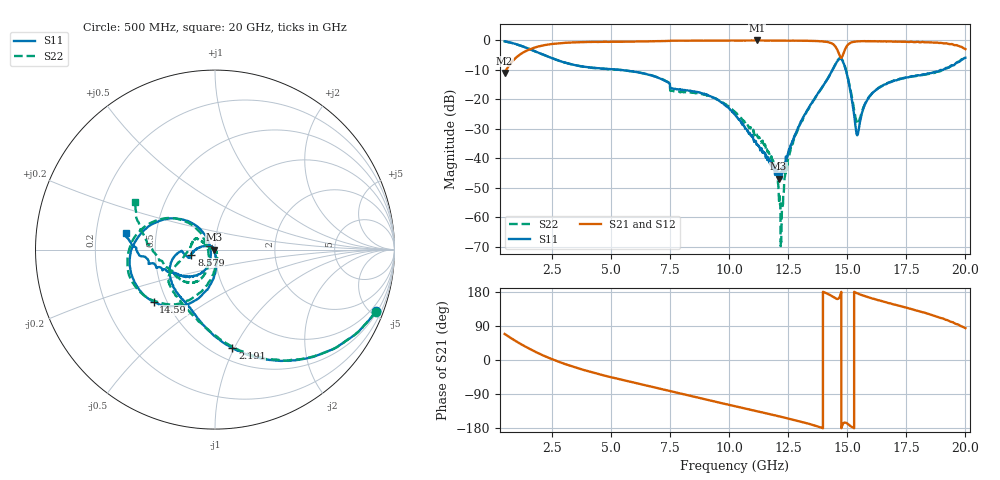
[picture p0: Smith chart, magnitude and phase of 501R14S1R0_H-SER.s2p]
!{501R14S1R0}
!Johanson Technology Inc.
!www.johansontechnology.com
!Test Board Conditions:
!Substrate Type  RO4350B
!Substrate Thickness  20 mil
!Substrate Dk  3.66
!TL Type: GCPW
!TL Trace Width  36 mil
!TL Gap  12 mil
!Electrode orientation  Horizontal
!DUT TOPOLOGY	SERIES
!Mounting Pad LxW  26x36 mil
! Created Wed Mar 11 15:54:02 2020!
# mhz S ma R 50
! 2 Port Network Data from SP1.SP block
! freq  magS11  angS11  magS21  angS21  magS12  angS12  magS22  angS22
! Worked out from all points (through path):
!   19501 points, 500 MHz to 20 GHz, reference 50 ohm
!   highest |S21| = -0.07 dB at 11.18 GHz (marker M1); lowest = -11.1 dB at 500 MHz (marker M2)
!   lowest |S11| = -46.9 dB at 12.1 GHz (marker M3), VSWR 1.01, Z = 49.6 - j0.0548 ohm
!   |S11| at or under -10 dB: 5.324 GHz to 14.38 GHz (9.058 GHz wide, 91.9 % of centre); 14.94 GHz to 19.07 GHz (4.129 GHz wide, 24.3 % of centre)
!   |S22| runs from -69.8 to -0.4 dB; largest |S21 - S12| = 0.014
!   S11 on the Smith chart (normalised r, x): 500 MHz: 0.62, -5.31; 2.191 GHz: 0.62, -0.98; 8.579 GHz: 0.77, -0.04; 14.59 GHz: 0.42, -0.31; 20 GHz: 0.33, +0.08
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500  0.9589 -21.0  0.2786 68.7  0.2785 68.6  0.9589 -21.1
1253  0.7904 -50.1  0.6105 39.7  0.6087 39.7  0.7901 -50.1
2191  0.558 -79.9  0.8266 10.4  0.8271 10.4  0.5576 -78.9
3750  0.362 -110.9  0.9268 -24.4  0.9279 -24.5  0.3602 -117.3
7000  0.2304 -170.0  0.9657 -74.7  0.964 -74.8  0.2338 -158.2
8579  0.1339 -168.2  0.9858 -98.0  0.9833 -97.9  0.1277 153.2
10250  0.05453 158.3  0.9901 -121.9  0.9902 -122.0  0.06139 152.6
11184  0.01711 131.0  0.9923 -135.3  0.9894 -135.2  0.02377 165.2
11851  0.007029 150.6  0.9876 -144.9  0.9884 -144.8  0.007893 154.1
12095  0.004497 -172.9  0.9874 -148.3  0.9874 -148.4  0.002513 142.9
12222  0.004774 -136.8  0.9858 -150.3  0.9874 -150.3  0.0008815 -67.7
12417  0.01028 -106.1  0.9851 -153.2  0.9863 -153.3  0.007893 -53.6
12589  0.0162 -96.8  0.983 -155.7  0.9852 -155.8  0.01304 -60.3
13500  0.08676 -85.8  0.9751 -170.5  0.9781 -170.6  0.08478 -85.8
14222  0.24 -103.1  0.9191 173.4  0.918 173.3  0.2426 -107.5
14594  0.4483 -139.6  0.6686 161.1  0.6657 161.1  0.4576 -143.1
14935  0.3178 147.3  0.7385 -165.5  0.741 -165.6  0.3279 147.8
15425  0.02456 -170.5  0.9558 175.9  0.9559 175.9  0.03837 -175.0
15887  0.104 -114.1  0.9689 165.6  0.9608 165.5  0.1052 -112.9
16750  0.193 -128.5  0.9529 150.1  0.957 150.2  0.1901 -117.2
18875  0.3011 -158.7  0.8996 112.9  0.9039 112.3  0.2958 -163.4
20000  0.5047 169.7  0.7079 84.0  0.7088 84.3  0.5194 149.5
